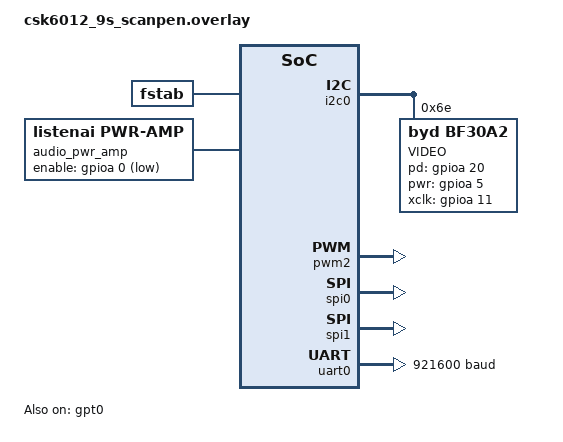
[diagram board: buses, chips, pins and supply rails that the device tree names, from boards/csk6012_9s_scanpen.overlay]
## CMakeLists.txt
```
cmake_minimum_required(VERSION 3.20.0)
# Copyright (c) 2018 Nordic Semiconductor ASA
# Copyright (c) 2019 Linaro Limited
#
# SPDX-License-Identifier: Apache-2.0
#
#set(ZEPHYR_EXTRA_MODULES $ENV{ZEPHYR_BASE}/../modules/lib/sof_host)

if("${BOARD}" STREQUAL "csk6_tester" OR "${BOARD}" STREQUAL "csk6002_c3_nano"  OR "${BOARD}" STREQUAL "csk6002_9s_nano"  OR "${BOARD}" STREQUAL "csk6012_9s_scanpen")
  set(BUILD_DSP_FIRMWARE OFF)
  find_package(Zephyr REQUIRED HINTS $ENV{ZEPHYR_BASE})
  message(INFO " ${BOARD} compile as Master in this sample")
  target_sources(app PRIVATE src/main.c)
  add_subdirectory(./src)
  zephyr_compile_options(-g3 -gdwarf-2)
endif()


if(BUILD_DSP_FIRMWARE)

  set(REMOTE_ZEPHYR_DIR ${CMAKE_CURRENT_BINARY_DIR}/sof-dsp-prefix/src/sof-dsp-build/zephyr)

  if("${BOARD}" STREQUAL "csk6_tester" OR "${BOARD}" STREQUAL "csk6002_c3_nano"  OR "${BOARD}" STREQUAL "csk6002_9s_nano"  OR "${BOARD}" STREQUAL "csk6012_9s_scanpen")
    set(BOARD_REMOTE "ls_adsp_csk6")
  else()
    message(FATAL_ERROR "${BOARD} was not supported for this sample")
  endif()

  project(sof-dsp)

  enable_language(C ASM)

  #target_sources(app PRIVATE src/load_fw.c src/mem_image_store.c src/platform_info.c src/zynqmp_csk6_rproc_example.c )

  include(ExternalProject)

  set(ENV{XCC_USE_CLANG} "1")
  set(ENV{ZEPHYR_TOOLCHAIN_VARIANT} "xcc")

  ExternalProject_Add(
    sof_remote
    SOURCE_DIR ${APPLICATION_SOURCE_DIR}/remote
    INSTALL_COMMAND ""      # This particular build system has no install command
    CMAKE_CACHE_ARGS -DBOARD:STRING=${BOARD_REMOTE}
    BUILD_BYPRODUCTS "${REMOTE_ZEPHYR_DIR}/${KERNEL_BIN_NAME}"
    # NB: Do we need to pass on more CMake variables?
    BUILD_ALWAYS True
  )

  unset(ENV{XCC_USE_CLANG})
  unset(ENV{ZEPHYR_TOOLCHAIN_VARIANT})
  target_include_directories(app PRIVATE ${CMAKE_CURRENT_SOURCE_DIR} ./src) 

endif()
```

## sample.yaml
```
tests:
  sample.board.csk6.subsys.sof_host:
    platform_allow: csk6002_c3_nano csk6002_9s_nano csk6012_9s_scanpen
    tags: csk6
```

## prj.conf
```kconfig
CONFIG_PRINTK=y
CONFIG_DEBUG=y
CONFIG_LOG=y
CONFIG_LOG_PRINTK=y
# CONFIG_LOG_MODE_IMMEDIATE=y
CONFIG_LOG_BUFFER_SIZE=40960
CONFIG_LOG_STRDUP_MAX_STRING=128
CONFIG_LOG_STRDUP_BUF_COUNT=64
CONFIG_LOG_DETECT_MISSED_STRDUP=n
CONFIG_LOG_BACKEND_SHOW_COLOR=n
CONFIG_LOG_BACKEND_FORMAT_TIMESTAMP=n
CONFIG_LOG_BACKEND_UART=y
CONFIG_LOG_BACKEND_UART_OUTPUT_TEXT=y
CONFIG_GPIO=y
CONFIG_MAIN_STACK_SIZE=2048
CONFIG_HEAP_MEM_POOL_SIZE=92160


#psram init
CONFIG_CSK6_PSRAM=y
CONFIG_NEWLIB_LIBC=y
CONFIG_TEST_RANDOM_GENERATOR=y

#file system
CONFIG_FLASH=y
CONFIG_FLASH_MAP=y
CONFIG_FILE_SYSTEM=y
CONFIG_FS_FATFS_CODEPAGE=936
CONFIG_FS_FATFS_LFN=y
CONFIG_FS_FATFS_MAX_LFN=255
CONFIG_FS_FATFS_LFN_MODE_BSS=y
CONFIG_DISK_DRIVER_FLASH=y

#usb mass storage
CONFIG_USB_DEVICE_STACK=y
CONFIG_USB_DEVICE_PRODUCT="Zephyr DFU sample"
CONFIG_USB_MASS_STORAGE=y
CONFIG_MASS_STORAGE_STACK_SIZE=2048
CONFIG_SYSTEM_WORKQUEUE_STACK_SIZE=2048
CONFIG_MASS_STORAGE_DISK_NAME="NAND"

#CONFIG_USB_DRIVER_LOG_LEVEL_ERR=y
#CONFIG_USB_DEVICE_LOG_LEVEL_ERR=y
#CONFIG_USB_MASS_STORAGE_LOG_LEVEL_ERR=y
#CONFIG_USB_DRIVER_LOG_LEVEL_ERR=y

#usb cdc
CONFIG_USB_CDC_ACM=n
CONFIG_UART_LINE_CTRL=n
CONFIG_USB_CDC_ACM_RINGBUF_SIZE=4096
CONFIG_USB_CDC_ACM_LOG_LEVEL_ERR=y

#usb dfu
# CONFIG_USB_DFU_CLASS=y
# CONFIG_IMG_MANAGER=y
# CONFIG_IMG_BLOCK_BUF_SIZE=4096
#CONFIG_BOOTLOADER_MCUBOOT=y

#Fixd for WinUSB driver install.
CONFIG_USB_DEVICE_VID=0x2FE3
CONFIG_USB_DEVICE_PID=0x200

#sof
CONFIG_SOF_HOST=y
CONFIG_AVF_DEBUG_LEVEL=2
CONFIG_AVF_STREAM_SVR_DEBUG=n
CONFIG_AVF_EXAMPLE=y
CONFIG_AVF_MODULES_VIDEO_CAPTURE=y
CONFIG_AVF_MODULES_ALG_OCR=y
CONFIG_AVF_MODULES_ALG_TTS=y
CONFIG_AVF_MODULES_ALG_TRANSLATE=y
CONFIG_AVF_SHELL=y
CONFIG_AVF_DSP_XIP=n

#CONFIG_AVF_LOG_LEVEL_ERR=y
# CONFIG_AVF_USE_FS_FATFS=y
# CONFIG_FAT_FILESYSTEM_ELM=y
CONFIG_AVF_USE_FS_LITTLEFS=y
CONFIG_FILE_SYSTEM_LITTLEFS=y
CONFIG_POSIX_MAX_FDS=16
#sof example usr lisa heap 96k
CONFIG_LISA_HEAP_ARENA_SIZE=820224

#IPM
CONFIG_IPM=y

#shell
CONFIG_SHELL_ARGC_MAX=16
CONFIG_SHELL=y

#network-wifi
CONFIG_WIFI=n
CONFIG_CSK_WIFI_STATION=y
CONFIG_NET_L2_ETHERNET=y
#networking
CONFIG_NETWORKING=y
CONFIG_NET_DHCPV4=y
CONFIG_NET_IPV4=y
CONFIG_NET_TCP=y
CONFIG_NET_SOCKETS=y
CONFIG_NET_SOCKETS_CONNECT_TIMEOUT=3000
CONFIG_NET_SOCKETS_POSIX_NAMES=y
CONFIG_NET_MGMT=y
CONFIG_NET_MGMT_EVENT=y
CONFIG_NET_RX_STACK_SIZE=2048
CONFIG_NET_TX_STACK_SIZE=2048
CONFIG_NET_PKT_RX_COUNT=16
CONFIG_NET_PKT_TX_COUNT=16
CONFIG_NET_BUF_RX_COUNT=32
CONFIG_NET_BUF_TX_COUNT=32
CONFIG_NET_CONTEXT_NET_PKT_POOL=y

CONFIG_DNS_RESOLVER=y
CONFIG_DNS_SERVER_IP_ADDRESSES=y
CONFIG_DNS_SERVER1="8.8.8.8"

CONFIG_SYSTEM_WORKQUEUE_PRIORITY=-1
CONFIG_INIT_STACKS=y

# Network debug config
# CONFIG_NET_LOG=y

# HTTP & Websocket
CONFIG_HTTP_CLIENT=y
CONFIG_WEBSOCKET_CLIENT=n

# TLS configuration
CONFIG_MBEDTLS=y
CONFIG_MBEDTLS_BUILTIN=y
CONFIG_MBEDTLS_ENABLE_HEAP=y
CONFIG_MBEDTLS_HEAP_SIZE=4096
CONFIG_MBEDTLS_SSL_MAX_CONTENT_LEN=2048

# to enable TLS
CONFIG_NET_SOCKETS_SOCKOPT_TLS=y
CONFIG_NET_SOCKETS_TLS_MAX_CONTEXTS=10

# ListenAI moudle support
# zephyr System abstraction layer for other rtos, like freertos
CONFIG_ZPORT_SAL=y
# sal port to esp
CONFIG_ZPORT_ESP_TCP=y
CONFIG_ZPORT_ESP_HTTP=y
CONFIG_ZPORT_ESP_WS=y
CONFIG_ZPORT_ESP_ADF=y
# esp http & websocket
CONFIG_ZE_TCP_TRANSPORT=y
CONFIG_ZE_TCP_TRANSPORT_ENABLE_SSL=y
CONFIG_ZE_HTTP_CLIENT=y
CONFIG_ZE_HTTP_CLIENT_ENABLE_HTTPS=y
CONFIG_ZE_WEBSOCKET_CLIENT=y
CONFIG_BASE64=y
# esp adf - pipeline
CONFIG_ZE_ADF=y
CONFIG_ZE_ADF_HTTP_STREAM_ENABLE=y
CONFIG_ZE_ADF_FS_STREAM_ENABLE=y
CONFIG_ZE_ADF_MEMORY_STREAM_ENABLE=y
CONFIG_ZE_ADF_AVF_STREAM_ENABLE=y
# lisa player
CONFIG_LISA_PLAYER=y
CONFIG_LISA_PLAYER_AUDIO_STRCASECMP_ENABLE=y

# Custom config for example
CONFIG_LISA_PLAYER_SHELL_ENABLE=y
CONFIG_LISA_PLAYER_SHELL_DEFINE_FILE="/NAND:/{{YOUR_FILE_NAME}}.wav"
# setup local http_server in ./temp/ folder:
# Linux: export LISA_ZEP_EXEC=1 && lisa zep exec python -m http.server 8080
# Windows: set LISA_ZEP_EXEC=1 && lisa zep exec python -m http.server 8080
# 打开 http://127.0.0.1:8080
CONFIG_LISA_PLAYER_SHELL_DEFINE_URL="http://{{YOUR_PC_IP}}:8080/fdf7ea5d44626d0319e2fac116019d4af.wav"

# config wifi
CONFIG_EXAMPLE_WIFI_SSID="{{YOUR_WIFI_SSID}}"
CONFIG_EXAMPLE_WIFI_PASSWORD="{{YOUR_WIFI_PASSWORD}}"

# Enable Testing

# shell: ze_http_client test_start
CONFIG_ZE_HTTP_CLIENT_TEST_SHELL=y

# shell: ze_websocket_client test_start
CONFIG_ZE_WEBSOCKET_CLIENT_TEST_SHELL=y
# websocket server test paltform: http://www.easyswoole.com/wstool.html
CONFIG_ZE_WEBSOCKET_CLIENT_TEST_URI="ws://82.157.123.54:9010/ajaxchattest"

#shell
CONFIG_SHELL_ARGC_MAX=16
CONFIG_SHELL=y

#cache
CONFIG_CACHE_MANAGEMENT=y

# mcumgr
CONFIG_MCUMGR=y
# Required by the `taskstat` command.
CONFIG_THREAD_MONITOR=y
# Enable statistics and statistic names.
CONFIG_STATS=y
CONFIG_STATS_NAMES=y
# Enable most core commands.
# CONFIG_MCUMGR_CMD_IMG_MGMT=y
CONFIG_MCUMGR_CMD_OS_MGMT=y
CONFIG_MCUMGR_CMD_STAT_MGMT=y
CONFIG_MCUMGR_CMD_FS_MGMT=y
# Enable the shell mcumgr transport.
CONFIG_MCUMGR_SMP_SHELL=y
CONFIG_SHELL_LOG_BACKEND=n
# Enable the UDP mcumgr transports.
# CONFIG_MCUMGR_SMP_UDP=y
# CONFIG_MCUMGR_SMP_UDP_IPV4=y
# CONFIG_MCUMGR_SMP_UDP_IPV6=y
# CONFIG_NET_CONNECTION_MANAGER=y
# CONFIG_NET_BUF_USER_DATA_SIZE=24

# video
CONFIG_SPI=y
CONFIG_I2C=y
CONFIG_DMA=y
CONFIG_PWM=y
CONFIG_VIDEO=y
CONFIG_VIDEO_BF30A2=y
# CONFIG_BF30A2_DECODE_TEST=y
CONFIG_VIDEO_BUFFER_POOL_SZ_MAX=25600
CONFIG_SYS_CLOCK_TICKS_PER_SEC=1000
CONFIG_SCHED_MULTIQ=y
CONFIG_ZERO_LATENCY_IRQS=y

CONFIG_VIDEO_BUFFER_POOL_NUM_MAX=4
CONFIG_VIDEO_CUSTOM_SECTION=y
CONFIG_VIDEO_CUSTOM_SECTION_NAME=".psram_section"
CONFIG_CSK6_PSRAM=y
CONFIG_EXTRA_EXCEPTION_INFO=y
CONFIG_DEBUG_COREDUMP=y
CONFIG_DEBUG_COREDUMP_BACKEND_LOGGING=y

CONFIG_SHELL_BACKEND_SERIAL_RX_RING_BUFFER_SIZE=512
```

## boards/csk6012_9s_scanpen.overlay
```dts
/*
 * Copyright (c) 2021 listenai Intelligent Technology (anhui) Co., Ltd.
 *
 * SPDX-License-Identifier: Apache-2.0
 */
 /delete-node/ &storage_partition;

 / {
	 chosen {
		 /*
		  * shared memory reserved for the inter-processor communication
		  */
		 zephyr,ipc_shm = &psram_share;
		 zephyr,ipc = &mailbox0;
		 zephyr,flash_sysfs_storage = &filesystem_part;
		 zephyr,flash_controller = &flash;
		 zephyr,uart-mcumgr = &uart0;
		 /*
		  *zephyr,code-partition = &slot0_partition;
		  */
		 /*
		  *zephyr,lisa_heap = &psram_region1;
		  */
	 };
 
	  aliases {
		 avf-audio-pwr-amp = &pwr_amp;
	  };
 
 
	 fstab {
		 compatible = "zephyr,fstab";
		 lfs1: lfs1 {
			 compatible = "zephyr,fstab,littlefs";
			 mount-point = "/lfs1";
			 partition = <&filesystem_part>;
			 automount ;
			 no-format;
			 read-size = <16>;
			 prog-size = <16>;
			 cache-size = <64>;
			 lookahead-size = <32>;
			 block-cycles = <512>;
		 };
	 };
 
	 pwr_amp:audio_pwr_amp{
		  compatible = "listenai,pwr-amp";
		  enable-gpios = <&gpioa 0 1>;
		  label = "audio_pwr_amp";	
		  status = "okay";
	  };
 
 };
 
  
 &flash0 {
	 reg = <0x18000000 DT_SIZE_M(32)>;
	 write-block-size = <4>;
	 partitions {
		 compatible = "fixed-partitions";
		 #address-cells = <1>;
		 #size-cells = <1>;
		 /* filesystem: 2.625MB */
		 filesystem_part: partition@260000 {
					 label = "filesystem";
					 reg = <0x260000 0x2a0000>;
			 };
	 };
 };
 
 &i2c0 {
		 status = "okay";
		 pinctrl-0 = <&pinctrl_i2c0_scl_default &pinctrl_i2c0_sda_default>; 
		 pinctrl-names = "default";
 
		 bf30a2: bf30a2@6e {
			 compatible = "byd,bf30a2";
			 status = "okay";
			 label = "VIDEO";
			 reg = <0x6e>;
			 pd-gpios = <&gpioa 20 0>;
			 pwr-gpios = <&gpioa 5 0>;
			 product-id = <0x3b02>;
			 spi = <&spi1>;
			 xclk-gpios = <&gpioa 11 0>;
		 };
 };
 
 &gpt0 {
	 status = "okay";
 
	 pwm2: pwm2 {
		 clock-prescaler = <1>;
		 status = "okay";
		 pinctrl-0 = <&pinctrl_pwm2_default>; 
		 pinctrl-names = "default";
	 };
 };
 
 &spi0 {
		 status = "okay";
			 spi-max-frequency = <25000000>;
 };
 
 &spi1 {
	 status = "okay";
	 spi-max-frequency = <100000000>;
	 pinctrl-0 = <&pinctrl_spi1_sclk_default &pinctrl_spi1_mosi_default &pinctrl_spi1_cs_default>; 
	 pinctrl-names = "default";
 };
 
 
 &csk6012_9s_scanpen_pinctrl {
 
				 pinctrl_pwm2_default: pwm2_default{
					 pinctrls = <&pinmuxb 6 11>;
				 };
 
				 pinctrl_i2c0_scl_default: i2c0_scl_default{
						 pinctrls = <&pinmuxb 2 8>;
				 };
				 
				 pinctrl_i2c0_sda_default: i2c0_sda_default{
						 pinctrls = <&pinmuxb 3 8>;
				 };
 
				 pinctrl_spi1_sclk_default: spi1_sclk_default {
					 pinctrls = < &pinmuxb 0 7 >;
				 };
 
				 pinctrl_spi1_mosi_default: spi1_mosi_default {
					 pinctrls = < &pinmuxb 1 7 >;
				 };
 
				 pinctrl_spi1_miso_default: spi1_miso_default {
					 pinctrls = < &pinmuxa 20 7 >;
				 };
 
				 pinctrl_spi1_cs_default: spi1_cs_default {
					 pinctrls = < &pinmuxa 9 7 >;
				 };
 };
 
 &uart0 {
	 current-speed = <921600>;
	 status = "okay";
 };
```

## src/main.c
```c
/*
 *
 * SPDX-License-Identifier: Apache-2.0
 */
#include <zephyr.h>
#include <device.h>
#include <devicetree.h>
#include <drivers/video.h>
#include <logging/log.h>

LOG_MODULE_REGISTER(main, 4);

extern void s_fs_mount(void);
extern void mcumgr_domain();
extern void sof_domain(void);
extern void network_domain(void);

void main(void)
{
#ifdef CONFIG_SOF_HOST
	s_fs_mount();
#endif

/*Initialization of the SOF must be performed before wifi is enabled，
**because of heap space limitations,*/
#ifdef CONFIG_SOF_HOST
	sof_domain();
#endif

#ifdef CONFIG_WIFI
	network_domain();
#endif

#ifdef CONFIG_MCUMGR
	mcumgr_domain();
#endif

	while (1) {
		k_msleep(1000);
	}
}

typedef struct {
	volatile char *addr;
	volatile uint32_t frame_size;
	volatile uint32_t frame_cnt;
	volatile uint32_t w_pos;
	volatile uint32_t r_pos;
	volatile uint32_t tag;
} __packed frames_info_t;

typedef struct frame_info {
	uint32_t id;
	uint32_t sum;
} __packed frame_info_t;

Z_GENERIC_SECTION(.psram_section)
__attribute__((aligned(32),
	       used)) static char swp_frames[5][sizeof(frame_info_t) + 180 * 128] = { 0 };

static inline char *bf30a2_frames_info_get_free(frames_info_t *info)
{
	if (info == NULL || info->addr == NULL || info->frame_cnt <= 0) {
		return NULL;
	}

	SCB_InvalidateDCache_by_Addr(info, sizeof(frames_info_t));
	int r = info->r_pos;
	int w = info->w_pos;
	int cnt = info->frame_cnt;

	w %= info->frame_cnt;

	if (w > r) {
		if ((r + cnt - w) <= 1) {
			LOG_ERR("No free space to copy datas, w:%d, r=%d.", w, r);
			return NULL;
		}
	} else if (w < r) {
		if (r - w <= 1) {
			LOG_ERR("No free space to copy datas, w:%d, r=%d.", w, r);
			return NULL;
		}
	}

	return (char*)info->addr + w * info->frame_size;
}

static inline int32_t bf30a2_frames_info_update_w_pos(frames_info_t *info)
{
	if (info == NULL || info->addr == NULL || info->frame_cnt <= 0) {
		return -1;
	}

	info->w_pos++;
	info->w_pos %= info->frame_cnt;
	SCB_CleanDCache_by_Addr(info, sizeof(frames_info_t));

	return info->w_pos;
}

#define VIDEO_DEV DT_LABEL(DT_INST(0, byd_bf30a2))

uint32_t calc_sum(uint8_t *src, uint32_t size)
{
	uint32_t sum = 0;

	while (size--) {
		sum += (uint8_t)*src;
		src++;
	}

	return sum;
}

void video_ap2cp_thread(void *p1, void *p2, void *p3)
{
	struct video_buffer *vbuf = NULL;
	frames_info_t *info = (frames_info_t *)0x30704000;

	const struct device *video = device_get_binding(VIDEO_DEV);

	if (!device_is_ready(video)) {
		printk("ipm device is null.\n");
		return;
	}
	memset(info, 0, sizeof(frames_info_t));
	info->addr = &swp_frames[0][0];
	info->frame_size = 180 * 128 + sizeof(frame_info_t);
	info->frame_cnt = 5;
	info->w_pos = 0;
	info->r_pos = 0;
	info->tag = 0x12345678;

	LOG_INF("##########Frames info##########");
	LOG_INF("info       :%p.", (void*)info);
	LOG_INF("buffer addr:%p.", (void*)info->addr);
	LOG_INF("frame  size:%u.", info->frame_size);
	LOG_INF("frame count:%d.", info->frame_cnt);
	LOG_INF("write   pos:%d.", info->w_pos);
	LOG_INF("read    pos:%d.", info->r_pos);

	uint32_t last_tick = 0;
	int id = 0;
	int fps = 0;
	int frame_cnt = 0;
	int discard_cnt = 0;

	while (1) {
		vbuf = NULL;
		video_dequeue(video, VIDEO_EP_OUT, &vbuf, K_FOREVER);
		frame_cnt++;
		/* send datas to cp core */
		char *buffer = bf30a2_frames_info_get_free(info);
		if (buffer != NULL) {
			frame_info_t *frame_info = (frame_info_t *)buffer;
			frame_info->id = id++;
			memcpy(buffer + sizeof(frame_info_t), vbuf->buffer, 180 * 128);
			frame_info->sum = calc_sum(buffer + sizeof(frame_info_t), 180 * 128);
			SCB_CleanDCache_by_Addr(buffer, info->frame_size);
			bf30a2_frames_info_update_w_pos(info);
			fps = vbuf->timestamp - last_tick > 0 ?
				      1000 / (vbuf->timestamp - last_tick) :
				      0;
			last_tick = vbuf->timestamp;
		} else {
			discard_cnt++;
		}

		if (frame_cnt % 10 == 0) {
			LOG_INF("fps:%d, T:%d, D%d.", fps, frame_cnt, discard_cnt);
		}
		video_enqueue(video, VIDEO_EP_OUT, vbuf);
	}
}

K_THREAD_DEFINE(video_ap2cp, 2048, video_ap2cp_thread, NULL, NULL, NULL, 0, 0, 0);
```

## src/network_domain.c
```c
#include <zephyr.h>

#include <stdlib.h>
#include <sys/printk.h>
#include <sys/sys_heap.h>

#include <net/net_if.h>
#include <net/net_core.h>
#include <net/net_context.h>
#include <net/net_mgmt.h>

#include <logging/log.h>
LOG_MODULE_REGISTER(csk_wifi_sta, LOG_LEVEL_DBG);

#include "csk6/csk_wifi.h"

static csk_wifi_event_cb_t wifi_event_cb;
static struct net_mgmt_event_callback dhcp_cb;
static void handler_cb(struct net_mgmt_event_callback *cb, uint32_t mgmt_event, struct net_if *iface)
{
    if (mgmt_event != NET_EVENT_IPV4_DHCP_BOUND) {
        return;
    }

    char buf[NET_IPV4_ADDR_LEN];

    printk("Your address: %s\n", net_addr_ntop(AF_INET, &iface->config.dhcpv4.requested_ip, buf, sizeof(buf)));
    printk("Lease time: %u seconds\n", iface->config.dhcpv4.lease_time);
    printk("Subnet: %s\n", net_addr_ntop(AF_INET, &iface->config.ip.ipv4->netmask, buf, sizeof(buf)));
    printk("Router: %s\n", net_addr_ntop(AF_INET, &iface->config.ip.ipv4->gw, buf, sizeof(buf)));

}


static void wifi_event_handler(csk_wifi_event_t events, void *event_data, uint32_t data_len, void *arg)
{
    if (events & CSK_WIFI_EVT_STA_CONNECTED) {
        printk("[WiFi sta] connected\n");
    } else if (events & CSK_WIFI_EVT_STA_DISCONNECTED) {
        printk("[WiFi sta] disconnected\n");
    } else {
        abort();
    }
}

void network_domain_task(void){
    csk_wifi_init();
    wifi_event_cb.handler = &wifi_event_handler;
    wifi_event_cb.events = CSK_WIFI_EVT_STA_CONNECTED | CSK_WIFI_EVT_STA_DISCONNECTED;
    wifi_event_cb.arg = NULL;
    csk_wifi_add_callback(&wifi_event_cb);

    csk_wifi_sta_config_t sta_config = {
        .ssid = CONFIG_EXAMPLE_WIFI_SSID,
        .pwd = CONFIG_EXAMPLE_WIFI_PASSWORD,
        .encryption_mode = CSK_WIFI_AUTH_WPA2_PSK
    };

    int retry_count = 0;
    csk_wifi_result_t wifi_result;
    do {
        printk("connecting to wifi: %s ...\n", sta_config.ssid);
        int ret = csk_wifi_sta_connect(&sta_config, &wifi_result, K_FOREVER);
        if (ret == 0) {
            break;
        } else {
            if (wifi_result == CSK_WIFI_ERR_STA_FAILED) {
                retry_count++;
                printk("retry to connecting wifi ... %d\n", retry_count);
            } else {
                printk("AP not found or invalid password\n");
                abort();
            }
        }
    } while (retry_count < 10);
    net_mgmt_init_event_callback(&dhcp_cb, handler_cb, NET_EVENT_IPV4_DHCP_BOUND);
    net_mgmt_add_event_callback(&dhcp_cb);
    struct net_if *iface = net_if_get_default();
    if (!iface) {
        printk("wifi interface not available");
        return;
    }
    net_dhcpv4_start(iface);

	while (1) {
		k_sleep(K_MSEC(1000));
	}
}


struct k_thread network_thread;

K_KERNEL_STACK_DEFINE(network_stack, 512);

void network_domain(void){
	k_thread_create(&network_thread, network_stack,
				K_KERNEL_STACK_SIZEOF(network_stack), &network_domain_task, NULL, NULL, NULL,
				2, 0, K_NO_WAIT);
	k_thread_system_pool_assign(&network_thread);
}
```

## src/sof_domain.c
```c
/*
 * Copyright (c) 2020 Intel Corporation.
 *
 * SPDX-License-Identifier: Apache-2.0
 */

#include <zephyr.h>
#include <lisa_mem.h>
#include <avf_platform.h>

extern void example_vcapture_mem_register(void* pmalloc,void* pcalloc,void* pfree);
void sof_domain(void){
    example_vcapture_mem_register(lisa_mem_alloc,lisa_mem_calloc,lisa_mem_free);
    avf_stream_platform_register();
}
```
